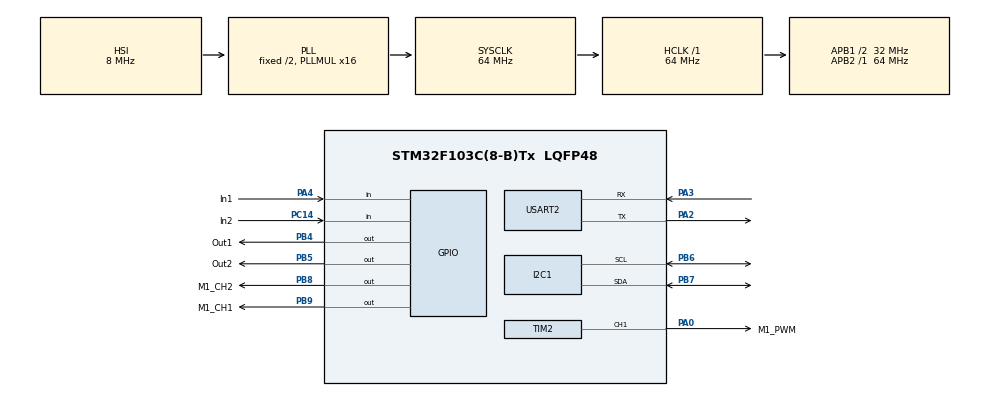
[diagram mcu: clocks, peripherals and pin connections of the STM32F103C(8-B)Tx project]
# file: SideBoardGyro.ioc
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I2C1.I2C_Mode=I2C_Fast
Mcu.Family=STM32F1
Mcu.Name=STM32F103C(8-B)Tx
Mcu.Package=LQFP48
NVIC.PriorityGroup=NVIC_PRIORITYGROUP_4
NVIC.USART2_IRQn=true\:0\:0\:false\:false\:true\:true\:true\:true
PA0-WKUP.GPIO_Label=M1_PWM
PA0-WKUP.Signal=S_TIM2_CH1_ETR
PA13.Mode=Serial_Wire
PA13.Signal=SYS_JTMS-SWDIO
PA14.Mode=Serial_Wire
PA14.Signal=SYS_JTCK-SWCLK
PA2.Mode=Asynchronous
PA2.Signal=USART2_TX
PA3.Mode=Asynchronous
PA3.Signal=USART2_RX
PA4.GPIO_Label=In1
PA4.Signal=GPIO_Input
PB4.GPIO_Label=Out1
PB4.Signal=GPIO_Output
PB5.GPIO_Label=Out2
PB5.Signal=GPIO_Output
PB6.Mode=I2C
PB6.Signal=I2C1_SCL
PB7.Mode=I2C
PB7.Signal=I2C1_SDA
PB8.GPIO_Label=M1_CH2
PB8.Signal=GPIO_Output
PB9.GPIO_Label=M1_CH1
PB9.Signal=GPIO_Output
PC14-OSC32_IN.GPIO_Label=In2
PC14-OSC32_IN.Signal=GPIO_Input
ProjectManager.HeapSize=0x200
ProjectManager.StackSize=0x400
ProjectManager.TargetToolchain=STM32CubeIDE
RCC.AHBFreq_Value=64000000
RCC.APB1CLKDivider=RCC_HCLK_DIV2
RCC.APB1Freq_Value=32000000
RCC.APB1TimFreq_Value=64000000
RCC.APB2Freq_Value=64000000
RCC.APB2TimFreq_Value=64000000
RCC.HCLKFreq_Value=64000000
RCC.PLLMUL=RCC_PLL_MUL16
RCC.SYSCLKFreq_VALUE=64000000
RCC.SYSCLKSource=RCC_SYSCLKSOURCE_PLLCLK
RCC.USBFreq_Value=64000000
SH.S_TIM2_CH1_ETR.0=TIM2_CH1,PWM Generation1 CH1
TIM2.Channel-PWM\ Generation1\ CH1=TIM_CHANNEL_1
TIM2.OCFastMode_PWM-PWM\ Generation1\ CH1=TIM_OCFAST_ENABLE
TIM2.OCMode_PWM-PWM\ Generation1\ CH1=TIM_OCMODE_PWM1
TIM2.OCPolarity_1=TIM_OCPOLARITY_LOW
TIM2.Period=1000-1
TIM2.Prescaler=256-1
USART2.VirtualMode=VM_ASYNC
VP_TIM2_VS_ClockSourceINT.Mode=Internal
board=custom

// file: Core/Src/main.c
/* USER CODE BEGIN Header */
/**
  ******************************************************************************
  * @file           : main.c
  * @brief          : Main program body
  ******************************************************************************
  * @attention
  *
  * Copyright (c) 2024 STMicroelectronics.
  * All rights reserved.
  *
  * This software is licensed under terms that can be found in the LICENSE file
  * in the root directory of this software component.
  * If no LICENSE file comes with this software, it is provided AS-IS.
  *
  ******************************************************************************
  */
/* USER CODE END Header */
#include "main.h"

/* USER CODE BEGIN Includes */
#include "string.h"
#include "PID.h"
#include "math.h"
#include "MPU6050_GYRO.h"
/* USER CODE END Includes */

I2C_HandleTypeDef hi2c1;

TIM_HandleTypeDef htim2;

UART_HandleTypeDef huart2;

/* USER CODE BEGIN PV */
uint32_t SystemTime = 0;
PID_Controller PID;
MPU6050_Data GyroParsedData;
/* USER CODE END PV */

void SystemClock_Config(void);
static void MX_GPIO_Init(void);
static void MX_I2C1_Init(void);
static void MX_USART2_UART_Init(void);
static void MX_TIM2_Init(void);

int main(void)
{

  /* MCU Configuration--------------------------------------------------------*/

  /* Reset of all peripherals, Initializes the Flash interface and the Systick. */
  HAL_Init();

  /* Configure the system clock */
  SystemClock_Config();

  /* Initialize all configured peripherals */
  MX_GPIO_Init();
  MX_I2C1_Init();
  MX_USART2_UART_Init();
  MX_TIM2_Init();
  /* USER CODE BEGIN 2 */
  HAL_TIM_PWM_Start(&htim2, TIM_CHANNEL_1);

  /* USER CODE END 2 */

  /* Infinite loop */
  /* USER CODE BEGIN WHILE */
  PID.Kp=0.1;
  PID.Ki=0.01;
  PID.Kd=0;
  PID.output=0;
  PID.target=0;
  PID.integral=0;
  PID.dt=10;
  PID.min_output= -1000;
  PID.max_output= 1000;
  PID.min_Integral= -1000;
  PID.max_Integral= 1000;
  while (1)
  {

	  	  MPU6050_GetData(&GyroParsedData);
	  	  //if (HAL_GetTick()-SystemTime>=(PID.dt)){
		  updatePID(&PID, GyroParsedData.AccelX);
		  int16_t OutputABS;
		  OutputABS = trunc(PID.output);
		  OutputABS = abs(OutputABS);
		  //__HAL_TIM_SET_COMPARE(&htim2,TIM_CHANNEL_1,OutputABS);
		  if (PID.output>0) {
			  HAL_GPIO_WritePin(M1_CH1_GPIO_Port, M1_CH1_Pin, 1);
			  HAL_GPIO_WritePin(M1_CH2_GPIO_Port, M1_CH2_Pin, 0);
		  }
		  else{
			  HAL_GPIO_WritePin(M1_CH1_GPIO_Port, M1_CH1_Pin, 0);
			  HAL_GPIO_WritePin(M1_CH2_GPIO_Port, M1_CH2_Pin, 1);

		  }
		  SystemTime=HAL_GetTick();
	  //}

	  char msg[500];
	  int len=sprintf(msg,"AX=%d AY=%d AZ=%d GX=%l GY=%d GZ=%d error=%f out=%f outabs=%d\n",GyroParsedData.AccelX,GyroParsedData.AccelY,GyroParsedData.AccelZ,GyroParsedData.GyroX,GyroParsedData.GyroY,GyroParsedData.GyroZ,PID.CurrentError,PID.output,OutputABS);
	  HAL_UART_Transmit_IT(&huart2, msg, len);
	  HAL_Delay(40);

    /* USER CODE END WHILE */

  }
}

void SystemClock_Config(void)
{
  RCC_OscInitTypeDef RCC_OscInitStruct = {0};
  RCC_ClkInitTypeDef RCC_ClkInitStruct = {0};

  /** Initializes the RCC Oscillators according to the specified parameters
  * in the RCC_OscInitTypeDef structure.
  */
  RCC_OscInitStruct.OscillatorType = RCC_OSCILLATORTYPE_HSI;
  RCC_OscInitStruct.HSIState = RCC_HSI_ON;
  RCC_OscInitStruct.HSICalibrationValue = RCC_HSICALIBRATION_DEFAULT;
  RCC_OscInitStruct.PLL.PLLState = RCC_PLL_ON;
  RCC_OscInitStruct.PLL.PLLSource = RCC_PLLSOURCE_HSI_DIV2;
  RCC_OscInitStruct.PLL.PLLMUL = RCC_PLL_MUL16;
  if (HAL_RCC_OscConfig(&RCC_OscInitStruct) != HAL_OK)
  {
    Error_Handler();
  }

  /** Initializes the CPU, AHB and APB buses clocks
  */
  RCC_ClkInitStruct.ClockType = RCC_CLOCKTYPE_HCLK|RCC_CLOCKTYPE_SYSCLK
                              |RCC_CLOCKTYPE_PCLK1|RCC_CLOCKTYPE_PCLK2;
  RCC_ClkInitStruct.SYSCLKSource = RCC_SYSCLKSOURCE_PLLCLK;
  RCC_ClkInitStruct.AHBCLKDivider = RCC_SYSCLK_DIV1;
  RCC_ClkInitStruct.APB1CLKDivider = RCC_HCLK_DIV2;
  RCC_ClkInitStruct.APB2CLKDivider = RCC_HCLK_DIV1;

  if (HAL_RCC_ClockConfig(&RCC_ClkInitStruct, FLASH_LATENCY_2) != HAL_OK)
  {
    Error_Handler();
  }
}

static void MX_I2C1_Init(void)
{

  hi2c1.Instance = I2C1;
  hi2c1.Init.ClockSpeed = 400000;
  hi2c1.Init.DutyCycle = I2C_DUTYCYCLE_2;
  hi2c1.Init.OwnAddress1 = 0;
  hi2c1.Init.AddressingMode = I2C_ADDRESSINGMODE_7BIT;
  hi2c1.Init.DualAddressMode = I2C_DUALADDRESS_DISABLE;
  hi2c1.Init.OwnAddress2 = 0;
  hi2c1.Init.GeneralCallMode = I2C_GENERALCALL_DISABLE;
  hi2c1.Init.NoStretchMode = I2C_NOSTRETCH_DISABLE;
  if (HAL_I2C_Init(&hi2c1) != HAL_OK)
  {
    Error_Handler();
  }

}

static void MX_TIM2_Init(void)
{

  TIM_ClockConfigTypeDef sClockSourceConfig = {0};
  TIM_MasterConfigTypeDef sMasterConfig = {0};
  TIM_OC_InitTypeDef sConfigOC = {0};

  htim2.Instance = TIM2;
  htim2.Init.Prescaler = 256-1;
  htim2.Init.CounterMode = TIM_COUNTERMODE_UP;
  htim2.Init.Period = 1000-1;
  htim2.Init.ClockDivision = TIM_CLOCKDIVISION_DIV1;
  htim2.Init.AutoReloadPreload = TIM_AUTORELOAD_PRELOAD_DISABLE;
  if (HAL_TIM_Base_Init(&htim2) != HAL_OK)
  {
    Error_Handler();
  }
  sClockSourceConfig.ClockSource = TIM_CLOCKSOURCE_INTERNAL;
  if (HAL_TIM_ConfigClockSource(&htim2, &sClockSourceConfig) != HAL_OK)
  {
    Error_Handler();
  }
  if (HAL_TIM_PWM_Init(&htim2) != HAL_OK)
  {
    Error_Handler();
  }
  sMasterConfig.MasterOutputTrigger = TIM_TRGO_RESET;
  sMasterConfig.MasterSlaveMode = TIM_MASTERSLAVEMODE_DISABLE;
  if (HAL_TIMEx_MasterConfigSynchronization(&htim2, &sMasterConfig) != HAL_OK)
  {
    Error_Handler();
  }
  sConfigOC.OCMode = TIM_OCMODE_PWM1;
  sConfigOC.Pulse = 0;
  sConfigOC.OCPolarity = TIM_OCPOLARITY_LOW;
  sConfigOC.OCFastMode = TIM_OCFAST_ENABLE;
  if (HAL_TIM_PWM_ConfigChannel(&htim2, &sConfigOC, TIM_CHANNEL_1) != HAL_OK)
  {
    Error_Handler();
  }
  HAL_TIM_MspPostInit(&htim2);

}

static void MX_USART2_UART_Init(void)
{

  huart2.Instance = USART2;
  huart2.Init.BaudRate = 115200;
  huart2.Init.WordLength = UART_WORDLENGTH_8B;
  huart2.Init.StopBits = UART_STOPBITS_1;
  huart2.Init.Parity = UART_PARITY_NONE;
  huart2.Init.Mode = UART_MODE_TX_RX;
  huart2.Init.HwFlowCtl = UART_HWCONTROL_NONE;
  huart2.Init.OverSampling = UART_OVERSAMPLING_16;
  if (HAL_UART_Init(&huart2) != HAL_OK)
  {
    Error_Handler();
  }

}

static void MX_GPIO_Init(void)
{
  GPIO_InitTypeDef GPIO_InitStruct = {0};

  /* GPIO Ports Clock Enable */
  __HAL_RCC_GPIOC_CLK_ENABLE();
  __HAL_RCC_GPIOA_CLK_ENABLE();
  __HAL_RCC_GPIOB_CLK_ENABLE();

  /*Configure GPIO pin Output Level */
  HAL_GPIO_WritePin(GPIOB, Out1_Pin|Out2_Pin|M1_CH2_Pin|M1_CH1_Pin, GPIO_PIN_RESET);

  /*Configure GPIO pin : In2_Pin */
  GPIO_InitStruct.Pin = In2_Pin;
  GPIO_InitStruct.Mode = GPIO_MODE_INPUT;
  GPIO_InitStruct.Pull = GPIO_NOPULL;
  HAL_GPIO_Init(In2_GPIO_Port, &GPIO_InitStruct);

  /*Configure GPIO pin : In1_Pin */
  GPIO_InitStruct.Pin = In1_Pin;
  GPIO_InitStruct.Mode = GPIO_MODE_INPUT;
  GPIO_InitStruct.Pull = GPIO_NOPULL;
  HAL_GPIO_Init(In1_GPIO_Port, &GPIO_InitStruct);

  /*Configure GPIO pins : Out1_Pin Out2_Pin M1_CH2_Pin M1_CH1_Pin */
  GPIO_InitStruct.Pin = Out1_Pin|Out2_Pin|M1_CH2_Pin|M1_CH1_Pin;
  GPIO_InitStruct.Mode = GPIO_MODE_OUTPUT_PP;
  GPIO_InitStruct.Pull = GPIO_NOPULL;
  GPIO_InitStruct.Speed = GPIO_SPEED_FREQ_LOW;
  HAL_GPIO_Init(GPIOB, &GPIO_InitStruct);

}

void Error_Handler(void)
{
  __disable_irq();
  while (1)
  {
  }
}
